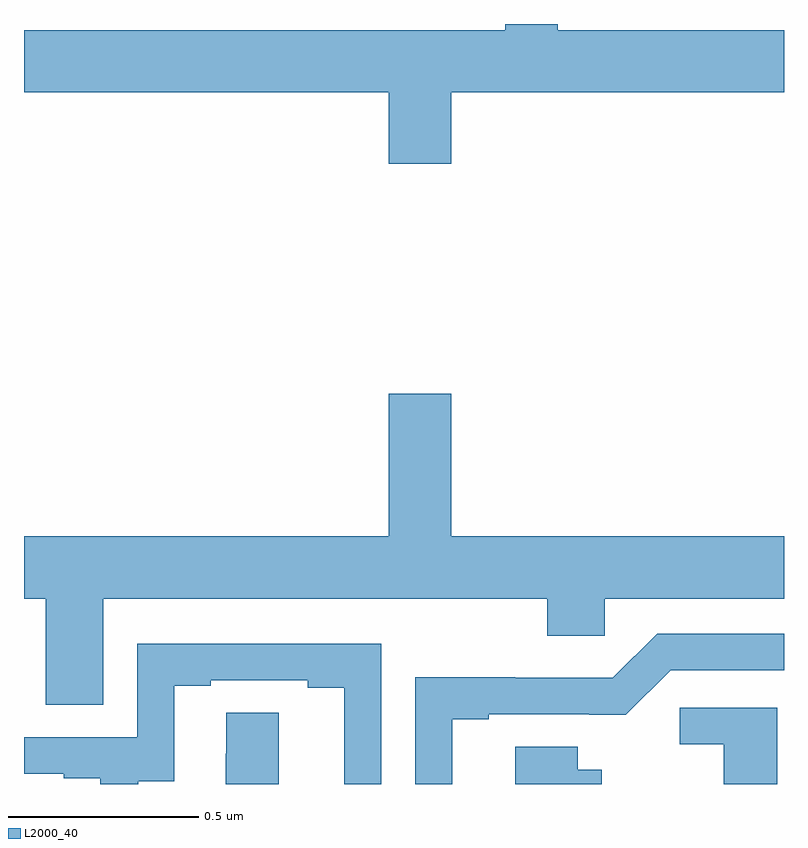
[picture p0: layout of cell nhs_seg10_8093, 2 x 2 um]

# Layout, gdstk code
import gdstk
lib = gdstk.Library(unit=1e-6, precision=1e-09)
def P(c, l, *ps):  # polygons
    for p in ps: c.add(gdstk.Polygon(p, *l))
L2000_40 = (2000, 40)

nhs_seg10_8093 = lib.new_cell('nhs_seg10_8093')
P(nhs_seg10_8093, L2000_40, [(213.124,1296.32),(214,1296.32),(214,1296.484),(213.405,1296.484),(213.405,1296.5),(213.267,1296.5),(213.267,1296.484),(212,1296.484),(212,1296.32),(212.96,1296.32),(212.96,1296.132),(213.124,1296.132)],
  [(212.209,1294.988),(213.377,1294.988),(213.377,1294.89),(213.528,1294.89),(213.528,1294.988),(214,1294.988),(214,1295.152),(213.124,1295.152),(213.124,1295.527),(212.96,1295.527),(212.96,1295.152),(212,1295.152),(212,1294.988),(212.057,1294.988),(212.057,1294.708),(212.209,1294.708)],
  [(213.127,1294.671),(213.223,1294.671),(213.223,1294.683),(213.488,1294.683),(213.488,1294.682),(213.584,1294.682),(213.702,1294.8),(214,1294.8),(214,1294.896),(213.666,1294.896),(213.549,1294.779),(213.293,1294.779),(213.293,1294.781),(213.03,1294.781),(213.03,1294.5),(213.127,1294.5)],
  [(212.301,1294.507),(212.395,1294.507),(212.395,1294.758),(212.491,1294.758),(212.491,1294.773),(212.747,1294.773),(212.747,1294.753),(212.843,1294.753),(212.843,1294.5),(212.94,1294.5),(212.94,1294.869),(212.298,1294.869),(212.298,1294.623),(212,1294.623),(212,1294.527),(212.105,1294.527),(212.105,1294.515),(212.201,1294.515),(212.201,1294.5),(212.301,1294.5)],
  [(213.982,1294.701),(213.726,1294.701),(213.726,1294.604),(213.842,1294.604),(213.842,1294.5),(213.982,1294.5)],
  [(212.671,1294.688),(212.532,1294.688),(212.532,1294.58),(212.531,1294.58),(212.531,1294.5),(212.671,1294.5)],
  [(213.52,1294.537),(213.457,1294.537),(213.457,1294.598),(213.293,1294.598),(213.293,1294.5),(213.52,1294.5)])

lib.write_gds('nhs_seg10_8093.gds')
